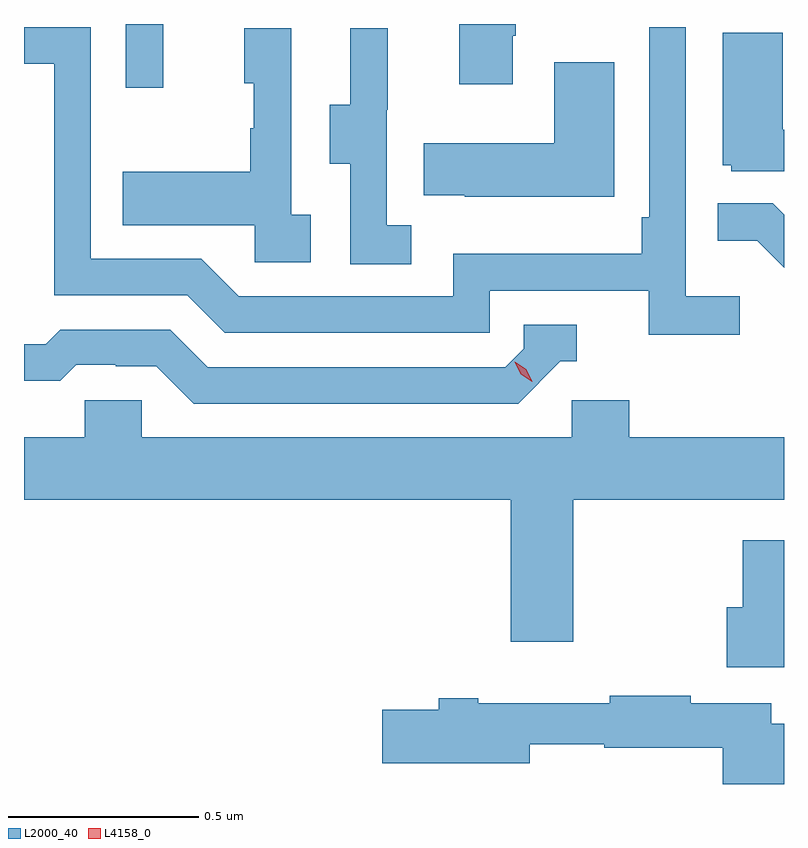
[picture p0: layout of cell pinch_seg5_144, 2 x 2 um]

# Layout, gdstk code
import gdstk
lib = gdstk.Library(unit=1e-6, precision=1e-09)
def R(c, l, rs):  # rectangles x0, y0, x1, y1
    for r in rs: c.add(gdstk.rectangle(r[:2], r[2:], *l))
def P(c, l, *ps):  # polygons
    for p in ps: c.add(gdstk.Polygon(p, *l))
L2000_40 = (2000, 40)
L4158_0 = (4158, 0)

pinch_seg5_144 = lib.new_cell('pinch_seg5_144')
R(pinch_seg5_144, L2000_40, [(1015.143,883.152,1015.241,883.32)])
P(pinch_seg5_144, L2000_40, [(1016.161,883.289),(1016.169,883.289),(1016.169,883.32),(1016.021,883.32),(1016.021,883.161),(1016.161,883.161)],
  [(1016.758,882.604),(1016.616,882.604),(1016.616,883.312),(1016.52,883.312),(1016.52,882.811),(1016.5,882.811),(1016.5,882.715),(1016.004,882.715),(1016.004,882.603),(1015.44,882.603),(1015.341,882.702),(1015.05,882.702),(1015.05,883.311),(1014.875,883.311),(1014.875,883.215),(1014.954,883.215),(1014.954,882.606),(1015.304,882.606),(1015.403,882.507),(1016.1,882.507),(1016.1,882.618),(1016.519,882.618),(1016.519,882.502),(1016.758,882.502)],
  [(1015.894,882.791),(1015.83,882.791),(1015.83,883.095),(1015.832,883.095),(1015.832,883.309),(1015.733,883.309),(1015.733,883.107),(1015.679,883.107),(1015.679,882.952),(1015.734,882.952),(1015.734,882.688),(1015.894,882.688)],
  [(1015.63,882.818),(1015.578,882.818),(1015.578,883.309),(1015.454,883.309),(1015.454,883.164),(1015.48,883.164),(1015.48,883.046),(1015.47,883.046),(1015.47,882.931),(1015.135,882.931),(1015.135,882.791),(1015.482,882.791),(1015.482,882.693),(1015.63,882.693)],
  [(1016.875,883.042),(1016.872,883.042),(1016.872,883.297),(1016.714,883.297),(1016.714,882.948),(1016.736,882.948),(1016.736,882.933),(1016.875,882.933)],
  [(1016.428,883.219),(1016.27,883.219),(1016.27,883.006),(1015.927,883.006),(1015.927,882.869),(1016.035,882.869),(1016.035,882.866),(1016.428,882.866)],
  [(1016.875,882.818),(1016.845,882.848),(1016.701,882.848),(1016.701,882.749),(1016.805,882.749),(1016.875,882.679)],
  [(1016.286,882.432),(1016.329,882.432),(1016.329,882.528),(1016.19,882.528),(1016.19,882.465),(1016.142,882.417),(1015.359,882.417),(1015.26,882.516),(1014.971,882.516),(1014.932,882.477),(1014.875,882.477),(1014.875,882.381),(1014.971,882.381),(1015.013,882.423),(1015.116,882.423),(1015.116,882.42),(1015.223,882.42),(1015.322,882.321),(1016.175,882.321)],
  [(1016.32,882.068),(1016.875,882.068),(1016.875,882.232),(1016.468,882.232),(1016.468,882.33),(1016.316,882.33),(1016.316,882.232),(1015.185,882.232),(1015.185,882.33),(1015.035,882.33),(1015.035,882.232),(1014.875,882.232),(1014.875,882.068),(1016.156,882.068),(1016.156,881.694),(1016.32,881.694)],
  [(1016.875,881.962),(1016.766,881.962),(1016.766,881.785),(1016.724,881.785),(1016.724,881.627),(1016.875,881.627)],
  [(1016.875,881.479),(1016.842,881.479),(1016.842,881.532),(1016.63,881.532),(1016.63,881.552),(1016.416,881.552),(1016.416,881.533),(1016.071,881.533),(1016.071,881.546),(1015.967,881.546),(1015.967,881.516),(1015.818,881.516),(1015.818,881.374),(1016.206,881.374),(1016.206,881.424),(1016.402,881.424),(1016.402,881.416),(1016.714,881.416),(1016.714,881.32),(1016.875,881.32)])
P(pinch_seg5_144, L4158_0, [(1016.212,882.379),(1016.182,882.398),(1016.167,882.431),(1016.167,882.431),(1016.167,882.431),(1016.197,882.411),(1016.213,882.379),(1016.213,882.379)])

lib.write_gds('pinch_seg5_144.gds')
